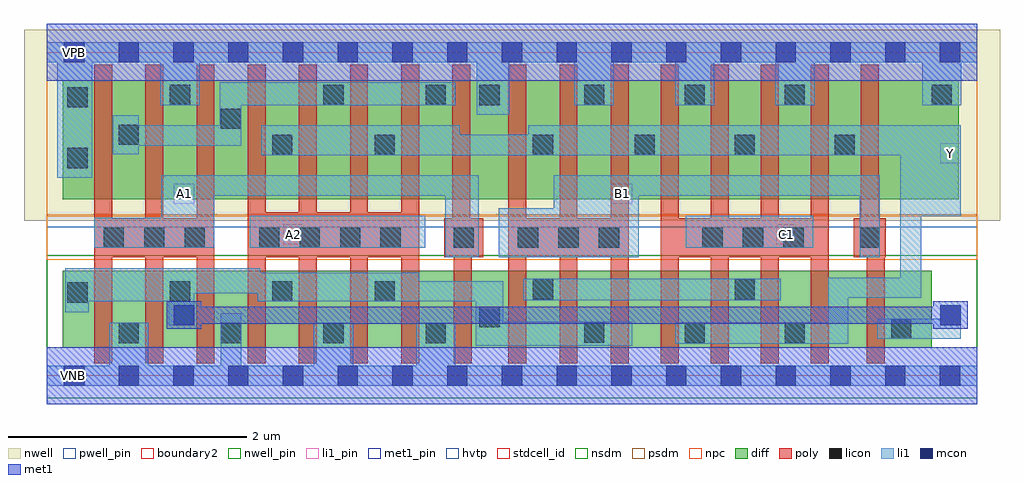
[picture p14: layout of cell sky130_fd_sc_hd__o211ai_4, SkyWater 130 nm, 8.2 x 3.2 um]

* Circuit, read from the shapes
.subckt sky130_fd_sc_hd__o211ai_4 A1 A2 B1 C1 VGND VNB VPB VPWR Y
XM1 VGND A1 n1 VNB sky130_fd_pr__nfet_01v8 w=0.65 l=0.15 m=4
XM2 n1 A2 VGND VNB sky130_fd_pr__nfet_01v8 w=0.65 l=0.15 m=4
XM3 n2 B1 n1 VNB sky130_fd_pr__nfet_01v8 w=0.65 l=0.15 m=2
XM4 n3 B1 n1 VNB sky130_fd_pr__nfet_01v8 w=0.65 l=0.15
XM5 Y C1 n3 VNB sky130_fd_pr__nfet_01v8 w=0.65 l=0.15
XM6 n2 C1 Y VNB sky130_fd_pr__nfet_01v8 w=0.65 l=0.15 m=2
XM7 n4 C1 Y VNB sky130_fd_pr__nfet_01v8 w=0.65 l=0.15
XM8 n1 B1 n4 VNB sky130_fd_pr__nfet_01v8 w=0.65 l=0.15
XM9 n5 A1 VPWR VPB sky130_fd_pr__pfet_01v8_hvt w=1 l=0.15 m=4
XM10 Y A2 n5 VPB sky130_fd_pr__pfet_01v8_hvt w=1 l=0.15 m=4
XM11 Y B1 VPWR VPB sky130_fd_pr__pfet_01v8_hvt w=1 l=0.15 m=4
XM12 VPWR C1 Y VPB sky130_fd_pr__pfet_01v8_hvt w=1 l=0.15 m=4
.ends

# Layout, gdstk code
import gdstk
lib = gdstk.Library(unit=1e-6, precision=1e-09)
def R(c, l, rs):  # rectangles x0, y0, x1, y1
    for r in rs: c.add(gdstk.rectangle(r[:2], r[2:], *l))
def A(c, l, x, y, w, h, nx, ny, dx, dy):  # array of equal rectangles
    R(c, l, [(x+i*dx, y+j*dy, x+i*dx+w, y+j*dy+h) for i in range(nx) for j in range(ny)])
def P(c, l, *ps):  # polygons
    for p in ps: c.add(gdstk.Polygon(p, *l))
nwell_pin = (64, 16)
nwell = (64, 20)
diff = (65, 20)
poly = (66, 20)
licon = (66, 44)
li1_pin = (67, 16)
li1 = (67, 20)
mcon = (67, 44)
met1_pin = (68, 16)
met1 = (68, 20)
hvtp = (78, 44)
stdcell_id = (81, 4)
nsdm = (93, 44)
psdm = (94, 20)
npc = (95, 20)
pwell_pin = (122, 16)
boundary2 = (236, 0)

sky130_fd_sc_hd__o211ai_ = lib.new_cell('sky130_fd_sc_hd__o211ai_4')
R(sky130_fd_sc_hd__o211ai_, nwell_pin, [(0.15,2.635,0.32,2.805)])
R(sky130_fd_sc_hd__o211ai_, nwell, [(-0.19,1.305,8.01,2.91)])
R(sky130_fd_sc_hd__o211ai_, diff, [(0.135,0.235,7.435,0.885), (0.135,1.485,7.665,2.485)])
P(sky130_fd_sc_hd__o211ai_, poly, [(7.05,1.325),(6.99,1.325),(6.99,2.615),(6.84,2.615),(6.84,1.325),(6.78,1.325),(6.78,0.995),(6.89,0.995),(6.89,0.105),(7.04,0.105),(7.04,0.995),(7.05,0.995)],
  [(6.57,2.615),(6.42,2.615),(6.42,1.325),(6.15,1.325),(6.15,2.615),(6,2.615),(6,1.325),(5.73,1.325),(5.73,2.615),(5.58,2.615),(5.58,1.325),(5.31,1.325),(5.31,2.615),(5.16,2.615),(5.16,0.105),(5.31,0.105),(5.31,0.995),(5.58,0.995),(5.58,0.105),(5.73,0.105),(5.73,0.995),(6,0.995),(6,0.105),(6.15,0.105),(6.15,0.995),(6.42,0.995),(6.42,0.105),(6.57,0.105)],
  [(4.89,2.615),(4.74,2.615),(4.74,1.325),(4.46,1.325),(4.46,2.615),(4.31,2.615),(4.31,1.325),(4.03,1.325),(4.03,2.615),(3.88,2.615),(3.88,0.105),(4.03,0.105),(4.03,0.995),(4.31,0.995),(4.31,0.105),(4.46,0.105),(4.46,0.995),(4.74,0.995),(4.74,0.105),(4.89,0.105)],
  [(3.67,1.325),(3.56,1.325),(3.56,2.615),(3.41,2.615),(3.41,1.325),(3.34,1.325),(3.34,0.995),(3.42,0.995),(3.42,0.105),(3.57,0.105),(3.57,0.995),(3.67,0.995)],
  [(3.13,2.615),(2.98,2.615),(2.98,1.375),(2.7,1.375),(2.7,2.615),(2.55,2.615),(2.55,1.375),(2.27,1.375),(2.27,2.615),(2.12,2.615),(2.12,1.375),(1.84,1.375),(1.84,2.615),(1.69,2.615),(1.69,0.105),(1.84,0.105),(1.84,0.995),(2.12,0.995),(2.12,0.105),(2.27,0.105),(2.27,0.995),(2.55,0.995),(2.55,0.105),(2.7,0.105),(2.7,0.995),(2.98,0.995),(2.98,0.105),(3.13,0.105)],
  [(1.41,2.615),(1.26,2.615),(1.26,1.325),(0.98,1.325),(0.98,2.615),(0.83,2.615),(0.83,1.325),(0.55,1.325),(0.55,2.615),(0.4,2.615),(0.4,0.105),(0.55,0.105),(0.55,0.995),(0.83,0.995),(0.83,0.105),(0.98,0.105),(0.98,0.995),(1.26,0.995),(1.26,0.105),(1.41,0.105)])
A(sky130_fd_sc_hd__o211ai_, licon, 0.605, 0.275, 0.17, 0.17, 4, 1, 0.86, 0)
A(sky130_fd_sc_hd__o211ai_, licon, 1.035, 0.625, 0.17, 0.17, 3, 1, 0.86, 0)
A(sky130_fd_sc_hd__o211ai_, licon, 0.48, 1.075, 0.17, 0.17, 3, 1, 0.34, 0)
A(sky130_fd_sc_hd__o211ai_, licon, 1.785, 1.075, 0.17, 0.17, 4, 1, 0.34, 0)
A(sky130_fd_sc_hd__o211ai_, licon, 3.96, 1.075, 0.17, 0.17, 3, 1, 0.34, 0)
A(sky130_fd_sc_hd__o211ai_, licon, 5.51, 1.075, 0.17, 0.17, 3, 1, 0.34, 0)
A(sky130_fd_sc_hd__o211ai_, licon, 4.94, 1.855, 0.17, 0.17, 3, 1, 0.84, 0)
R(sky130_fd_sc_hd__o211ai_, licon, [(4.515,0.28,4.685,0.45), (5.36,0.28,5.53,0.45), (6.2,0.28,6.37,0.45), (7.095,0.31,7.265,0.48), (3.635,0.41,3.805,0.58), (0.175,0.615,0.345,0.785), (5.78,0.64,5.95,0.81), (4.085,0.645,4.255,0.815), (3.42,1.075,3.59,1.245), (6.83,1.075,7,1.245), (0.175,1.745,0.345,1.915), (1.895,1.855,2.065,2.025), (2.755,1.855,2.925,2.025), (4.085,1.855,4.255,2.025), (0.605,1.94,0.775,2.11), (1.465,2.075,1.635,2.245), (0.175,2.255,0.345,2.425), (1.035,2.275,1.205,2.445), (2.325,2.275,2.495,2.445), (3.185,2.275,3.355,2.445), (3.635,2.275,3.805,2.445), (4.515,2.275,4.685,2.445), (5.36,2.275,5.53,2.445), (6.2,2.275,6.37,2.445), (7.435,2.275,7.605,2.445)])
R(sky130_fd_sc_hd__o211ai_, li1_pin, [(1.99,1.105,2.16,1.275), (6.13,1.105,6.3,1.275), (1.07,1.445,1.24,1.615), (4.75,1.445,4.92,1.615), (7.51,1.785,7.68,1.955)])
R(sky130_fd_sc_hd__o211ai_, li1, [(4.005,0.635,6.17,0.815), (1.705,1.075,3.18,1.345), (5.37,1.075,6.44,1.345)])
P(sky130_fd_sc_hd__o211ai_, li1, [(7.82,0.085),(3.435,0.085),(3.435,0.445),(3.105,0.445),(3.105,0.085),(2.575,0.085),(2.575,0.445),(2.245,0.445),(2.245,0.085),(1.635,0.085),(1.635,0.525),(1.465,0.525),(1.465,0.085),(0.855,0.085),(0.855,0.445),(0.525,0.445),(0.525,0.085),(0,0.085),(0,-0.085),(7.82,-0.085)],
  [(7.82,2.805),(0,2.805),(0,2.635),(0.09,2.635),(0.09,1.665),(0.385,1.665),(0.385,2.635),(0.955,2.635),(0.955,2.275),(1.285,2.275),(1.285,2.635),(3.615,2.635),(3.615,2.195),(3.885,2.195),(3.885,2.635),(4.435,2.635),(4.435,2.275),(4.765,2.275),(4.765,2.635),(5.28,2.635),(5.28,2.275),(5.61,2.275),(5.61,2.635),(6.12,2.635),(6.12,2.275),(6.455,2.275),(6.455,2.635),(7.355,2.635),(7.355,2.275),(7.685,2.275),(7.685,2.635),(7.82,2.635)],
  [(7.68,0.595),(7.51,0.595),(7.51,0.48),(6.98,0.48),(6.98,0.31),(7.68,0.31)],
  [(7.68,2.105),(4.045,2.105),(4.045,2.025),(3.47,2.025),(3.47,2.105),(1.805,2.105),(1.805,1.855),(7.17,1.855),(7.17,0.825),(6.565,0.825),(6.565,0.45),(5.28,0.45),(5.28,0.27),(6.735,0.27),(6.735,0.655),(7.35,0.655),(7.35,1.34),(7.68,1.34)],
  [(3.435,2.465),(1.455,2.465),(1.455,2.105),(0.775,2.105),(0.775,2.19),(0.555,2.19),(0.555,1.86),(0.775,1.86),(0.775,1.935),(1.635,1.935),(1.635,2.275),(3.435,2.275)],
  [(7,1.685),(4.26,1.685),(4.26,1.41),(3.8,1.41),(3.8,0.995),(4.975,0.995),(4.975,1.515),(6.83,1.515),(6.83,0.995),(7,0.995)],
  [(4.92,0.455),(3.835,0.455),(3.835,0.795),(3.13,0.795),(3.13,0.865),(1.795,0.865),(1.795,0.905),(0.155,0.905),(0.155,0.535),(0.355,0.535),(0.355,0.625),(1.025,0.625),(1.025,0.425),(1.24,0.425),(1.24,0.695),(1.775,0.695),(1.775,0.625),(3.605,0.625),(3.605,0.255),(4.92,0.255)],
  [(3.63,1.685),(0.965,1.685),(0.965,1.33),(0.4,1.33),(0.4,1.075),(1.41,1.075),(1.41,1.515),(3.35,1.515),(3.35,0.995),(3.63,0.995)])
A(sky130_fd_sc_hd__o211ai_, mcon, 0.145, -0.085, 0.17, 0.17, 17, 2, 0.46, 2.72)
R(sky130_fd_sc_hd__o211ai_, mcon, [(1.07,0.425,1.24,0.595), (7.51,0.425,7.68,0.595)])
R(sky130_fd_sc_hd__o211ai_, met1_pin, [(0.15,-0.085,0.32,0.085), (0.15,2.635,0.32,2.805)])
P(sky130_fd_sc_hd__o211ai_, met1, [(7.74,0.625),(7.45,0.625),(7.45,0.58),(1.3,0.58),(1.3,0.625),(1.01,0.625),(1.01,0.395),(1.3,0.395),(1.3,0.44),(7.45,0.44),(7.45,0.395),(7.74,0.395)])
R(sky130_fd_sc_hd__o211ai_, hvtp, [(0,1.25,7.82,2.72)])
R(sky130_fd_sc_hd__o211ai_, stdcell_id, [(0,0,7.82,2.72)])
R(sky130_fd_sc_hd__o211ai_, nsdm, [(0,-0.19,7.82,1.015)])
R(sky130_fd_sc_hd__o211ai_, psdm, [(0,1.355,7.82,2.91)])
R(sky130_fd_sc_hd__o211ai_, npc, [(0,0.975,7.82,1.345)])
R(sky130_fd_sc_hd__o211ai_, pwell_pin, [(0.15,-0.085,0.32,0.085)])
R(sky130_fd_sc_hd__o211ai_, boundary2, [(0,0,7.82,2.72)])
sky130_fd_sc_hd__o211ai_.add(gdstk.FlexPath([(0,2.72),(7.82,2.72)], 0.48, ends="flush", simple_path=True, layer=68, datatype=20))  # met1
sky130_fd_sc_hd__o211ai_.add(gdstk.FlexPath([(0,0),(7.82,0)], 0.48, ends="flush", simple_path=True, layer=68, datatype=20))  # met1
sky130_fd_sc_hd__o211ai_.add(gdstk.Label('A1', (1.155,1.53), layer=67, texttype=5))
sky130_fd_sc_hd__o211ai_.add(gdstk.Label('B1', (4.835,1.53), layer=67, texttype=5))
sky130_fd_sc_hd__o211ai_.add(gdstk.Label('A2', (2.075,1.19), layer=67, texttype=5))
sky130_fd_sc_hd__o211ai_.add(gdstk.Label('C1', (6.215,1.19), layer=67, texttype=5))
sky130_fd_sc_hd__o211ai_.add(gdstk.Label('Y', (7.595,1.87), layer=67, texttype=5))
sky130_fd_sc_hd__o211ai_.add(gdstk.Label('VNB', (0.23,0), layer=64, texttype=59))
sky130_fd_sc_hd__o211ai_.add(gdstk.Label('VPB', (0.235,2.72), layer=64, texttype=5))
sky130_fd_sc_hd__o211ai_.add(gdstk.Label('VGND', (0.23,0), layer=68, texttype=5))
sky130_fd_sc_hd__o211ai_.add(gdstk.Label('VPWR', (0.23,2.72), layer=68, texttype=5))
sky130_fd_sc_hd__o211ai_.add(gdstk.Label('o211ai_4', (0,0), layer=83, texttype=44))

lib.write_gds('sky130_fd_sc_hd__o211ai_4.gds')
